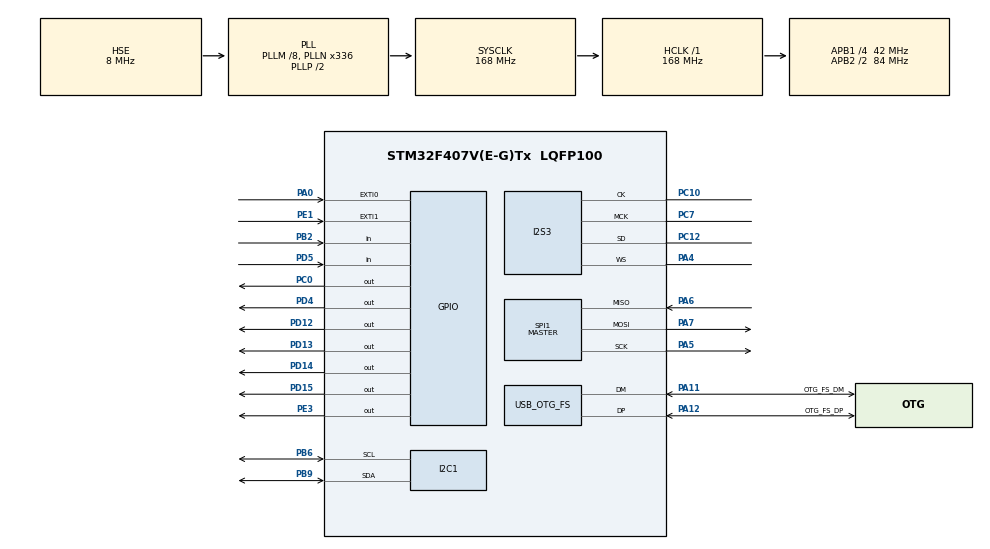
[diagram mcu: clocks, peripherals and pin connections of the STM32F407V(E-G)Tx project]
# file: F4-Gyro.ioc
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I2S3.AudioFreq-Half_Duplex_Master=I2S_AUDIOFREQ_96K
I2S3.ErrorAudioFreq=-2.34 %
I2S3.ErrorAudioFreq-Half_Duplex_Master=0.8 %
I2S3.FullDuplexMode=I2S_FULLDUPLEXMODE_DISABLE
I2S3.Instance=SPI$Index
I2S3.RealAudioFreq=93.75 KHz
I2S3.RealAudioFreq-Half_Duplex_Master=96.774 KHz
I2S3.VirtualMode=I2S_MODE_MASTER
Mcu.Family=STM32F4
Mcu.Name=STM32F407V(E-G)Tx
Mcu.Package=LQFP100
NVIC.OTG_FS_IRQn=true\:0\:0\:false\:false\:true\:true
NVIC.PriorityGroup=NVIC_PRIORITYGROUP_0
PA0-WKUP.GPIO_ModeDefaultEXTI=GPIO_MODE_IT_RISING
PA0-WKUP.GPIO_PuPd=GPIO_NOPULL
PA0-WKUP.Signal=GPXTI0
PA10.GPIO_Mode=GPIO_MODE_AF_PP
PA10.GPIO_PuPd=GPIO_NOPULL
PA10.GPIO_Speed=GPIO_SPEED_FREQ_VERY_HIGH
PA10.Signal=USB_OTG_FS_ID
PA11.GPIO_Label=OTG_FS_DM
PA11.GPIO_Mode=GPIO_MODE_AF_PP
PA11.GPIO_PuPd=GPIO_NOPULL
PA11.GPIO_Speed=GPIO_SPEED_FREQ_LOW
PA11.Mode=Device_Only
PA11.Signal=USB_OTG_FS_DM
PA12.GPIO_Label=OTG_FS_DP
PA12.GPIO_Mode=GPIO_MODE_AF_PP
PA12.GPIO_PuPd=GPIO_NOPULL
PA12.GPIO_Speed=GPIO_SPEED_FREQ_LOW
PA12.Mode=Device_Only
PA12.Signal=USB_OTG_FS_DP
PA13.Mode=Serial_Wire
PA13.Signal=SYS_JTMS-SWDIO
PA14.Mode=Serial_Wire
PA14.Signal=SYS_JTCK-SWCLK
PA4.GPIO_Mode=GPIO_MODE_AF_PP
PA4.GPIO_PuPd=GPIO_NOPULL
PA4.GPIO_Speed=GPIO_SPEED_FREQ_LOW
PA4.Mode=Half_Duplex_Master
PA4.Signal=I2S3_WS
PA5.GPIO_Mode=GPIO_MODE_AF_PP
PA5.GPIO_PuPd=GPIO_NOPULL
PA5.GPIO_Speed=GPIO_SPEED_FREQ_VERY_HIGH
PA5.Mode=Full_Duplex_Master
PA5.Signal=SPI1_SCK
PA6.GPIO_Mode=GPIO_MODE_AF_PP
PA6.GPIO_PuPd=GPIO_NOPULL
PA6.GPIO_Speed=GPIO_SPEED_FREQ_VERY_HIGH
PA6.Mode=Full_Duplex_Master
PA6.Signal=SPI1_MISO
PA7.GPIO_Mode=GPIO_MODE_AF_PP
PA7.GPIO_PuPd=GPIO_NOPULL
PA7.GPIO_Speed=GPIO_SPEED_FREQ_VERY_HIGH
PA7.Mode=Full_Duplex_Master
PA7.Signal=SPI1_MOSI
PA9.GPIO_Mode=GPIO_MODE_INPUT
PA9.GPIO_PuPd=GPIO_NOPULL
PA9.Signal=USB_OTG_FS_VBUS
PB10.GPIO_Mode=GPIO_MODE_AF_PP
PB10.GPIO_PuPd=GPIO_NOPULL
PB10.GPIO_Speed=GPIO_SPEED_FREQ_LOW
PB10.Signal=I2S2_CK
PB2.GPIO_Mode=GPIO_MODE_INPUT
PB2.GPIO_PuPd=GPIO_NOPULL
PB2.Signal=GPIO_Input
PB3.Signal=SYS_JTDO-SWO
PB6.GPIO_Mode=GPIO_MODE_AF_OD
PB6.GPIO_PuPd=GPIO_NOPULL
PB6.GPIO_PuPdOD=GPIO_PULLUP
PB6.GPIO_Speed=GPIO_SPEED_FREQ_VERY_HIGH
PB6.Mode=I2C
PB6.Signal=I2C1_SCL
PB9.GPIO_Mode=GPIO_MODE_AF_OD
PB9.GPIO_PuPd=GPIO_NOPULL
PB9.GPIO_PuPdOD=GPIO_PULLUP
PB9.GPIO_Speed=GPIO_SPEED_FREQ_VERY_HIGH
PB9.Mode=I2C
PB9.Signal=I2C1_SDA
PC0.GPIO_ModeDefaultOutputPP=GPIO_MODE_OUTPUT_PP
PC0.GPIO_PuPd=GPIO_NOPULL
PC0.GPIO_Speed=GPIO_SPEED_FREQ_LOW
PC0.PinState=GPIO_PIN_RESET
PC0.Signal=GPIO_Output
PC10.GPIO_Mode=GPIO_MODE_AF_PP
PC10.GPIO_PuPd=GPIO_NOPULL
PC10.GPIO_Speed=GPIO_SPEED_FREQ_LOW
PC10.Mode=Half_Duplex_Master
PC10.Signal=I2S3_CK
PC12.GPIO_Mode=GPIO_MODE_AF_PP
PC12.GPIO_PuPd=GPIO_NOPULL
PC12.GPIO_Speed=GPIO_SPEED_FREQ_LOW
PC12.Mode=Half_Duplex_Master
PC12.Signal=I2S3_SD
PC14-OSC32_IN.Mode=LSE-External-Oscillator
PC14-OSC32_IN.Signal=RCC_OSC32_IN
PC15-OSC32_OUT.Mode=LSE-External-Oscillator
PC15-OSC32_OUT.Signal=RCC_OSC32_OUT
PC3.GPIO_Mode=GPIO_MODE_AF_PP
PC3.GPIO_PuPd=GPIO_NOPULL
PC3.GPIO_Speed=GPIO_SPEED_FREQ_LOW
PC3.Signal=I2S2_SD
PC7.GPIO_Mode=GPIO_MODE_AF_PP
PC7.GPIO_PuPd=GPIO_NOPULL
PC7.GPIO_Speed=GPIO_SPEED_FREQ_LOW
PC7.Mode=Master_Clock_Activated
PC7.Signal=I2S3_MCK
PD12.GPIO_ModeDefaultOutputPP=GPIO_MODE_OUTPUT_PP
PD12.GPIO_PuPd=GPIO_NOPULL
PD12.GPIO_Speed=GPIO_SPEED_FREQ_LOW
PD12.PinState=GPIO_PIN_RESET
PD12.Signal=GPIO_Output
PD13.GPIO_ModeDefaultOutputPP=GPIO_MODE_OUTPUT_PP
PD13.GPIO_PuPd=GPIO_NOPULL
PD13.GPIO_Speed=GPIO_SPEED_FREQ_LOW
PD13.PinState=GPIO_PIN_RESET
PD13.Signal=GPIO_Output
PD14.GPIO_ModeDefaultOutputPP=GPIO_MODE_OUTPUT_PP
PD14.GPIO_PuPd=GPIO_NOPULL
PD14.GPIO_Speed=GPIO_SPEED_FREQ_LOW
PD14.PinState=GPIO_PIN_RESET
PD14.Signal=GPIO_Output
PD15.GPIO_ModeDefaultOutputPP=GPIO_MODE_OUTPUT_PP
PD15.GPIO_PuPd=GPIO_NOPULL
PD15.GPIO_Speed=GPIO_SPEED_FREQ_LOW
PD15.PinState=GPIO_PIN_RESET
PD15.Signal=GPIO_Output
PD4.GPIO_ModeDefaultOutputPP=GPIO_MODE_OUTPUT_PP
PD4.GPIO_PuPd=GPIO_NOPULL
PD4.GPIO_Speed=GPIO_SPEED_FREQ_LOW
PD4.PinState=GPIO_PIN_RESET
PD4.Signal=GPIO_Output
PD5.GPIO_Mode=GPIO_MODE_INPUT
PD5.GPIO_PuPd=GPIO_NOPULL
PD5.Signal=GPIO_Input
PE1.GPIO_ModeDefaultEXTI=GPIO_MODE_IT_RISING
PE1.GPIO_PuPd=GPIO_NOPULL
PE1.Signal=GPXTI1
PE3.GPIO_ModeDefaultOutputPP=GPIO_MODE_OUTPUT_PP
PE3.GPIO_PuPd=GPIO_NOPULL
PE3.GPIO_Speed=GPIO_SPEED_FREQ_LOW
PE3.PinState=GPIO_PIN_RESET
PE3.Signal=GPIO_Output
PH0-OSC_IN.Mode=HSE-External-Oscillator
PH0-OSC_IN.Signal=RCC_OSC_IN
PH1-OSC_OUT.Mode=HSE-External-Oscillator
PH1-OSC_OUT.Signal=RCC_OSC_OUT
ProjectManager.HeapSize=0x200
ProjectManager.StackSize=0x400
ProjectManager.TargetToolchain=MDK-ARM V5
RCC.48MHZClocksFreq_Value=48000000
RCC.AHBFreq_Value=168000000
RCC.APB1CLKDivider=RCC_HCLK_DIV4
RCC.APB1Freq_Value=42000000
RCC.APB1TimFreq_Value=84000000
RCC.APB2CLKDivider=RCC_HCLK_DIV2
RCC.APB2Freq_Value=84000000
RCC.APB2TimFreq_Value=168000000
RCC.CortexFreq_Value=168000000
RCC.HCLKFreq_Value=168000000
RCC.HSE_VALUE=8000000
RCC.HSI_VALUE=16000000
RCC.PLLM=8
RCC.PLLN=336
RCC.PLLQ=7
RCC.SYSCLKFreq_VALUE=168000000
RCC.SYSCLKSource=RCC_SYSCLKSOURCE_PLLCLK
RCC.VCOOutputFreq_Value=336000000
SPI1.BaudRatePrescaler-Full_Duplex_Master=SPI_BAUDRATEPRESCALER_2
SPI1.CalculateBaudRate-Full_Duplex_Master=42.0 MBits/s
SPI1.Direction=SPI_DIRECTION_2LINES
SPI1.Mode=SPI_MODE_MASTER
SPI1.Mode-Full_Duplex_Master=SPI_MODE_MASTER
SPI1.VirtualType=VM_MASTER
USB_DEVICE.CLASS_NAME_FS=CDC
USB_DEVICE.VirtualMode-CDC_FS=Cdc
USB_DEVICE.VirtualModeFS=Cdc_FS
USB_OTG_FS.VirtualMode=Device_Only
VP_USB_DEVICE_VS_USB_DEVICE_CDC_FS.Mode=CDC_FS
board=STM32F4DISCOVERY

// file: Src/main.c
/**
  ******************************************************************************
  * @file           : main.c
  * @brief          : Main program body
  ******************************************************************************
  * This notice applies to any and all portions of this file
  * that are not between comment pairs USER CODE BEGIN and
  * USER CODE END. Other portions of this file, whether
  * inserted by the user or by software development tools
  * are owned by their respective copyright owners.
  *
  * Copyright (c) 2018 STMicroelectronics International N.V.
  * All rights reserved.
  *
  * Redistribution and use in source and binary forms, with or without
  * modification, are permitted, provided that the following conditions are met:
  *
  * 1. Redistribution of source code must retain the above copyright notice,
  *    this list of conditions and the following disclaimer.
  * 2. Redistributions in binary form must reproduce the above copyright notice,
  *    this list of conditions and the following disclaimer in the documentation
  *    and/or other materials provided with the distribution.
  * 3. Neither the name of STMicroelectronics nor the names of other
  *    contributors to this software may be used to endorse or promote products
  *    derived from this software without specific written permission.
  * 4. This software, including modifications and/or derivative works of this
  *    software, must execute solely and exclusively on microcontroller or
  *    microprocessor devices manufactured by or for STMicroelectronics.
  * 5. Redistribution and use of this software other than as permitted under
  *    this license is void and will automatically terminate your rights under
  *    this license.
  *
  * THIS SOFTWARE IS PROVIDED BY STMICROELECTRONICS AND CONTRIBUTORS "AS IS"
  * AND ANY EXPRESS, IMPLIED OR STATUTORY WARRANTIES, INCLUDING, BUT NOT
  * LIMITED TO, THE IMPLIED WARRANTIES OF MERCHANTABILITY, FITNESS FOR A
  * PARTICULAR PURPOSE AND NON-INFRINGEMENT OF THIRD PARTY INTELLECTUAL PROPERTY
  * RIGHTS ARE DISCLAIMED TO THE FULLEST EXTENT PERMITTED BY LAW. IN NO EVENT
  * SHALL STMICROELECTRONICS OR CONTRIBUTORS BE LIABLE FOR ANY DIRECT, INDIRECT,
  * INCIDENTAL, SPECIAL, EXEMPLARY, OR CONSEQUENTIAL DAMAGES (INCLUDING, BUT NOT
  * LIMITED TO, PROCUREMENT OF SUBSTITUTE GOODS OR SERVICES; LOSS OF USE, DATA,
  * OR PROFITS; OR BUSINESS INTERRUPTION) HOWEVER CAUSED AND ON ANY THEORY OF
  * LIABILITY, WHETHER IN CONTRACT, STRICT LIABILITY, OR TORT (INCLUDING
  * NEGLIGENCE OR OTHERWISE) ARISING IN ANY WAY OUT OF THE USE OF THIS SOFTWARE,
  * EVEN IF ADVISED OF THE POSSIBILITY OF SUCH DAMAGE.
  *
  ******************************************************************************
  */
#include "main.h"
#include "stm32f4xx_hal.h"
#include "usb_device.h"

/* USER CODE BEGIN Includes */
#include "stm32f4_discovery_accelerometer.h"
#include "stm32f4_discovery.h"
#include "usbd_cdc.h"
#include <stdio.h>
/* USER CODE END Includes */

I2C_HandleTypeDef hi2c1;

I2S_HandleTypeDef hi2s3;

SPI_HandleTypeDef hspi1;

/* USER CODE BEGIN PV */
/* Private variables ---------------------------------------------------------*/
int16_t ThresholdHigh = 200;
int16_t ThresholdLow = -200;
int16_t buffer[3] = {0};
int16_t xval, yval = 0x00;
/* USER CODE END PV */

void SystemClock_Config(void);
static void MX_GPIO_Init(void);
static void MX_I2C1_Init(void);
static void MX_I2S3_Init(void);
static void MX_SPI1_Init(void);

/* USER CODE BEGIN PFP */
/* Private function prototypes -----------------------------------------------*/
void Send_Data_to_USB(int16_t *Value_DAT);
/* USER CODE END PFP */

/* USER CODE BEGIN 0 */
#define ABS(x) (x < 0) ? (-x) : x
/* USER CODE END 0 */

int main(void)
{

  /* MCU Configuration----------------------------------------------------------*/

  /* Reset of all peripherals, Initializes the Flash interface and the Systick. */
  HAL_Init();

  /* Configure the system clock */
  SystemClock_Config();

  /* Initialize all configured peripherals */
  MX_GPIO_Init();
  MX_I2C1_Init();
  MX_I2S3_Init();
  MX_SPI1_Init();
  MX_USB_DEVICE_Init();
  /* USER CODE BEGIN 2 */
  /* Initialize the L3GD20 Gyroscope */
  if (BSP_ACCELERO_Init() != HAL_OK)
  {
    Error_Handler();
  }
  /* USER CODE END 2 */

  /* Infinite loop */
  while (1)
  {

    /* USER CODE BEGIN 3 */
    /* Ready gyro angular data */
    BSP_ACCELERO_GetXYZ(buffer);
    HAL_Delay(250);
    Send_Data_to_USB(buffer);
    xval = buffer[0];
    yval = buffer[1];
    /* Manage data */

    if ((ABS(xval)) > (ABS(yval)))
    {
      if (xval > ThresholdHigh)
      {
        /* LED5 On */
        BSP_LED_On(LED5);
        HAL_Delay(250);
      }
      else if (xval < ThresholdLow)
      {
        /* LED4 On */
        BSP_LED_On(LED4);
        HAL_Delay(250);
      }
      else
      {
        HAL_Delay(250);
      }
    }
    else
    {
      if (yval < ThresholdLow)
      {
        /* LED6 On */
        BSP_LED_On(LED6);
        HAL_Delay(250);
      }
      else if (yval > ThresholdHigh)
      {
        /* LED3 On */
        BSP_LED_On(LED3);
        HAL_Delay(250);
      }
      else
      {
        HAL_Delay(250);
      }
    }

    BSP_LED_Off(LED3);
    BSP_LED_Off(LED4);
    BSP_LED_Off(LED5);
    BSP_LED_Off(LED6);
  }
  /* USER CODE END 3 */
}

void SystemClock_Config(void)
{

  RCC_OscInitTypeDef RCC_OscInitStruct;
  RCC_ClkInitTypeDef RCC_ClkInitStruct;
  RCC_PeriphCLKInitTypeDef PeriphClkInitStruct;

  /**Configure the main internal regulator output voltage
    */
  __HAL_RCC_PWR_CLK_ENABLE();

  __HAL_PWR_VOLTAGESCALING_CONFIG(PWR_REGULATOR_VOLTAGE_SCALE1);

  /**Initializes the CPU, AHB and APB busses clocks
    */
  RCC_OscInitStruct.OscillatorType = RCC_OSCILLATORTYPE_HSE;
  RCC_OscInitStruct.HSEState = RCC_HSE_ON;
  RCC_OscInitStruct.PLL.PLLState = RCC_PLL_ON;
  RCC_OscInitStruct.PLL.PLLSource = RCC_PLLSOURCE_HSE;
  RCC_OscInitStruct.PLL.PLLM = 8;
  RCC_OscInitStruct.PLL.PLLN = 336;
  RCC_OscInitStruct.PLL.PLLP = RCC_PLLP_DIV2;
  RCC_OscInitStruct.PLL.PLLQ = 7;
  if (HAL_RCC_OscConfig(&RCC_OscInitStruct) != HAL_OK)
  {
    _Error_Handler(__FILE__, __LINE__);
  }

  /**Initializes the CPU, AHB and APB busses clocks
    */
  RCC_ClkInitStruct.ClockType = RCC_CLOCKTYPE_HCLK | RCC_CLOCKTYPE_SYSCLK | RCC_CLOCKTYPE_PCLK1 | RCC_CLOCKTYPE_PCLK2;
  RCC_ClkInitStruct.SYSCLKSource = RCC_SYSCLKSOURCE_PLLCLK;
  RCC_ClkInitStruct.AHBCLKDivider = RCC_SYSCLK_DIV1;
  RCC_ClkInitStruct.APB1CLKDivider = RCC_HCLK_DIV4;
  RCC_ClkInitStruct.APB2CLKDivider = RCC_HCLK_DIV2;

  if (HAL_RCC_ClockConfig(&RCC_ClkInitStruct, FLASH_LATENCY_5) != HAL_OK)
  {
    _Error_Handler(__FILE__, __LINE__);
  }

  PeriphClkInitStruct.PeriphClockSelection = RCC_PERIPHCLK_I2S;
  PeriphClkInitStruct.PLLI2S.PLLI2SN = 192;
  PeriphClkInitStruct.PLLI2S.PLLI2SR = 2;
  if (HAL_RCCEx_PeriphCLKConfig(&PeriphClkInitStruct) != HAL_OK)
  {
    _Error_Handler(__FILE__, __LINE__);
  }

  /**Configure the Systick interrupt time
    */
  HAL_SYSTICK_Config(HAL_RCC_GetHCLKFreq() / 1000);

  /**Configure the Systick
    */
  HAL_SYSTICK_CLKSourceConfig(SYSTICK_CLKSOURCE_HCLK);

  /* SysTick_IRQn interrupt configuration */
  HAL_NVIC_SetPriority(SysTick_IRQn, 0, 0);
}

/* I2C1 init function */
static void MX_I2C1_Init(void)
{

  hi2c1.Instance = I2C1;
  hi2c1.Init.ClockSpeed = 100000;
  hi2c1.Init.DutyCycle = I2C_DUTYCYCLE_2;
  hi2c1.Init.OwnAddress1 = 0;
  hi2c1.Init.AddressingMode = I2C_ADDRESSINGMODE_7BIT;
  hi2c1.Init.DualAddressMode = I2C_DUALADDRESS_DISABLE;
  hi2c1.Init.OwnAddress2 = 0;
  hi2c1.Init.GeneralCallMode = I2C_GENERALCALL_DISABLE;
  hi2c1.Init.NoStretchMode = I2C_NOSTRETCH_DISABLE;
  if (HAL_I2C_Init(&hi2c1) != HAL_OK)
  {
    _Error_Handler(__FILE__, __LINE__);
  }
}

/* I2S3 init function */
static void MX_I2S3_Init(void)
{

  hi2s3.Instance = SPI3;
  hi2s3.Init.Mode = I2S_MODE_MASTER_TX;
  hi2s3.Init.Standard = I2S_STANDARD_PHILIPS;
  hi2s3.Init.DataFormat = I2S_DATAFORMAT_16B;
  hi2s3.Init.MCLKOutput = I2S_MCLKOUTPUT_ENABLE;
  hi2s3.Init.AudioFreq = I2S_AUDIOFREQ_96K;
  hi2s3.Init.CPOL = I2S_CPOL_LOW;
  hi2s3.Init.ClockSource = I2S_CLOCK_PLL;
  hi2s3.Init.FullDuplexMode = I2S_FULLDUPLEXMODE_DISABLE;
  if (HAL_I2S_Init(&hi2s3) != HAL_OK)
  {
    _Error_Handler(__FILE__, __LINE__);
  }
}

/* SPI1 init function */
static void MX_SPI1_Init(void)
{

  /* SPI1 parameter configuration*/
  hspi1.Instance = SPI1;
  hspi1.Init.Mode = SPI_MODE_MASTER;
  hspi1.Init.Direction = SPI_DIRECTION_2LINES;
  hspi1.Init.DataSize = SPI_DATASIZE_8BIT;
  hspi1.Init.CLKPolarity = SPI_POLARITY_LOW;
  hspi1.Init.CLKPhase = SPI_PHASE_1EDGE;
  hspi1.Init.NSS = SPI_NSS_SOFT;
  hspi1.Init.BaudRatePrescaler = SPI_BAUDRATEPRESCALER_2;
  hspi1.Init.FirstBit = SPI_FIRSTBIT_MSB;
  hspi1.Init.TIMode = SPI_TIMODE_DISABLE;
  hspi1.Init.CRCCalculation = SPI_CRCCALCULATION_DISABLE;
  hspi1.Init.CRCPolynomial = 10;
  if (HAL_SPI_Init(&hspi1) != HAL_OK)
  {
    _Error_Handler(__FILE__, __LINE__);
  }
}

/** Configure pins as
        * Analog
        * Input
        * Output
        * EVENT_OUT
        * EXTI
     PC3   ------> I2S2_SD
     PB10   ------> I2S2_CK
*/
static void MX_GPIO_Init(void)
{

  GPIO_InitTypeDef GPIO_InitStruct;

  /* GPIO Ports Clock Enable */
  __HAL_RCC_GPIOE_CLK_ENABLE();
  __HAL_RCC_GPIOC_CLK_ENABLE();
  __HAL_RCC_GPIOH_CLK_ENABLE();
  __HAL_RCC_GPIOA_CLK_ENABLE();
  __HAL_RCC_GPIOB_CLK_ENABLE();
  __HAL_RCC_GPIOD_CLK_ENABLE();

  /*Configure GPIO pin Output Level */
  HAL_GPIO_WritePin(GPIOE, GPIO_PIN_3, GPIO_PIN_RESET);

  /*Configure GPIO pin Output Level */
  HAL_GPIO_WritePin(GPIOC, GPIO_PIN_0, GPIO_PIN_RESET);

  /*Configure GPIO pin Output Level */
  HAL_GPIO_WritePin(GPIOD, GPIO_PIN_12 | GPIO_PIN_13 | GPIO_PIN_14 | GPIO_PIN_15 | GPIO_PIN_4, GPIO_PIN_RESET);

  /*Configure GPIO pin : PE3 */
  GPIO_InitStruct.Pin = GPIO_PIN_3;
  GPIO_InitStruct.Mode = GPIO_MODE_OUTPUT_PP;
  GPIO_InitStruct.Pull = GPIO_NOPULL;
  GPIO_InitStruct.Speed = GPIO_SPEED_FREQ_LOW;
  HAL_GPIO_Init(GPIOE, &GPIO_InitStruct);

  /*Configure GPIO pin : PC0 */
  GPIO_InitStruct.Pin = GPIO_PIN_0;
  GPIO_InitStruct.Mode = GPIO_MODE_OUTPUT_PP;
  GPIO_InitStruct.Pull = GPIO_NOPULL;
  GPIO_InitStruct.Speed = GPIO_SPEED_FREQ_LOW;
  HAL_GPIO_Init(GPIOC, &GPIO_InitStruct);

  /*Configure GPIO pin : PC3 */
  GPIO_InitStruct.Pin = GPIO_PIN_3;
  GPIO_InitStruct.Mode = GPIO_MODE_AF_PP;
  GPIO_InitStruct.Pull = GPIO_NOPULL;
  GPIO_InitStruct.Speed = GPIO_SPEED_FREQ_LOW;
  GPIO_InitStruct.Alternate = GPIO_AF5_SPI2;
  HAL_GPIO_Init(GPIOC, &GPIO_InitStruct);

  /*Configure GPIO pin : PA0 */
  GPIO_InitStruct.Pin = GPIO_PIN_0;
  GPIO_InitStruct.Mode = GPIO_MODE_IT_RISING;
  GPIO_InitStruct.Pull = GPIO_NOPULL;
  HAL_GPIO_Init(GPIOA, &GPIO_InitStruct);

  /*Configure GPIO pin : PB2 */
  GPIO_InitStruct.Pin = GPIO_PIN_2;
  GPIO_InitStruct.Mode = GPIO_MODE_INPUT;
  GPIO_InitStruct.Pull = GPIO_NOPULL;
  HAL_GPIO_Init(GPIOB, &GPIO_InitStruct);

  /*Configure GPIO pin : PB10 */
  GPIO_InitStruct.Pin = GPIO_PIN_10;
  GPIO_InitStruct.Mode = GPIO_MODE_AF_PP;
  GPIO_InitStruct.Pull = GPIO_NOPULL;
  GPIO_InitStruct.Speed = GPIO_SPEED_FREQ_LOW;
  GPIO_InitStruct.Alternate = GPIO_AF5_SPI2;
  HAL_GPIO_Init(GPIOB, &GPIO_InitStruct);

  /*Configure GPIO pins : PD12 PD13 PD14 PD15
                           PD4 */
  GPIO_InitStruct.Pin = GPIO_PIN_12 | GPIO_PIN_13 | GPIO_PIN_14 | GPIO_PIN_15 | GPIO_PIN_4;
  GPIO_InitStruct.Mode = GPIO_MODE_OUTPUT_PP;
  GPIO_InitStruct.Pull = GPIO_NOPULL;
  GPIO_InitStruct.Speed = GPIO_SPEED_FREQ_LOW;
  HAL_GPIO_Init(GPIOD, &GPIO_InitStruct);

  /*Configure GPIO pin : PD5 */
  GPIO_InitStruct.Pin = GPIO_PIN_5;
  GPIO_InitStruct.Mode = GPIO_MODE_INPUT;
  GPIO_InitStruct.Pull = GPIO_NOPULL;
  HAL_GPIO_Init(GPIOD, &GPIO_InitStruct);

  /*Configure GPIO pin : PE1 */
  GPIO_InitStruct.Pin = GPIO_PIN_1;
  GPIO_InitStruct.Mode = GPIO_MODE_IT_RISING;
  GPIO_InitStruct.Pull = GPIO_NOPULL;
  HAL_GPIO_Init(GPIOE, &GPIO_InitStruct);
}

/* USER CODE BEGIN 4 */
void Send_Data_to_USB(int16_t *Value_DAT)
{
  int8_t dataOut[256];

  if (((USBD_CDC_HandleTypeDef *)(hUsbDeviceFS.pClassData))->TxState == 0)
  {

    sprintf(dataOut, "Gyr -> GYR_X: %d, GYR_Y: %d, GYR_Z: %d\n", Value_DAT[0], Value_DAT[1], Value_DAT[2]);
    /* Transmiting data to USB over CDC interface */
    /* (Browse through usbd_cdc_if.c file for the correct function to use */
    CDC_Transmit_FS(dataOut, strlen(dataOut));
  }
}
/* USER CODE END 4 */

void _Error_Handler(char *file, int line)
{
  while (1)
  {
  }
}

/************************ (C) COPYRIGHT STMicroelectronics *****END OF FILE****/
